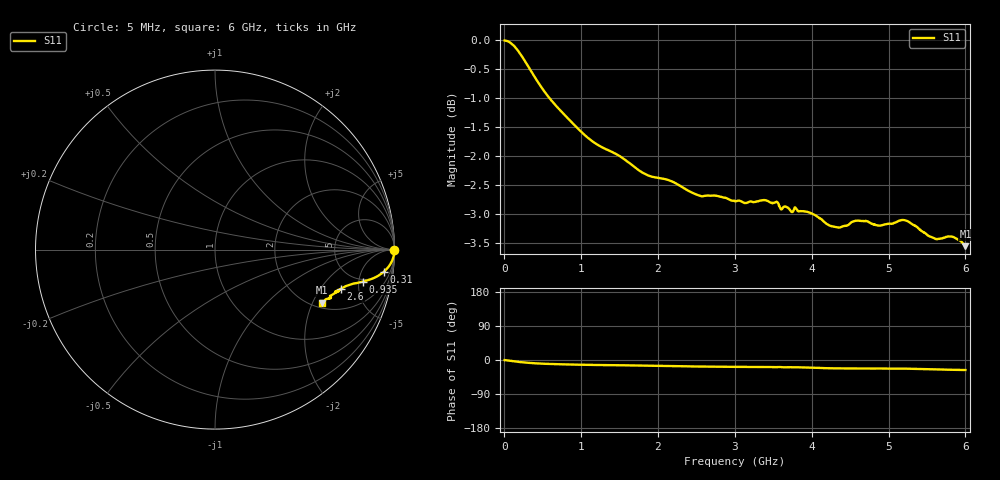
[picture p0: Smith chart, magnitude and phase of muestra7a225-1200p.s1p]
# Hz S RI R 50.000000
! Metas.Vna.Tools, 3.0.9519.15400
! Metas.Vna.Data, 3.0.9519.15360
! Created: UTC 2026.10.24 15:18:39
! FREQ  re:S1,1  im:S1,1
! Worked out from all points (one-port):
!   1200 points, 5 MHz to 6 GHz, reference 50 ohm
!   lowest |S11| = -3.6 dB at 6 GHz (marker M1), VSWR 4.95, Z = 111 - j117 ohm
!   |S11| at or under -10 dB: nowhere
!   S11 on the Smith chart (normalised r, x): 5 MHz: open; 310 MHz: 5, -13; 935 MHz: 4.60, -5.65; 2.6 GHz: 3.35, -3.18; 6 GHz: 2.22, -2.35
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5000000  1 -0.00244
1.3e8  0.9866 -0.062
2.2e8  0.9662 -0.0964
3.1e8  0.9424 -0.1221
4.9e8  0.8968 -0.1525
7.55e8  0.8494 -0.1715
9.35e8  0.8231 -0.1786
1.165e9  0.7952 -0.1853
1.505e9  0.7712 -0.1898
1.84e9  0.7399 -0.1993
2.255e9  0.7218 -0.2074
2.45e9  0.706 -0.2161
2.6e9  0.7004 -0.219
2.775e9  0.6994 -0.2216
3.005e9  0.6899 -0.2257
3.4e9  0.6898 -0.231
3.755e9  0.6707 -0.2367
3.965e9  0.6674 -0.2427
4.27e9  0.6408 -0.258
4.37e9  0.6378 -0.261
4.505e9  0.643 -0.264
4.61e9  0.6466 -0.2646
4.885e9  0.6394 -0.2636
5.165e9  0.6451 -0.2698
5.255e9  0.6424 -0.2714
5.61e9  0.6129 -0.2797
5.785e9  0.61 -0.2933
6e9  0.5944 -0.2958
